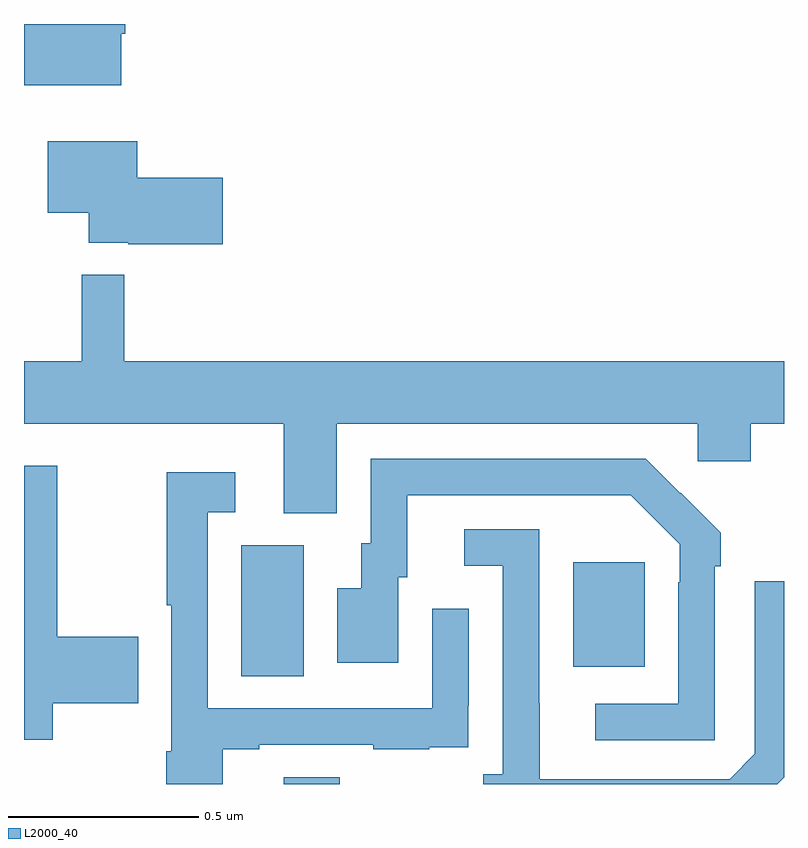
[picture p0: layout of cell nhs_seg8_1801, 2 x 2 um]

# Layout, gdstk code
import gdstk
lib = gdstk.Library(unit=1e-6, precision=1e-09)
def R(c, l, rs):  # rectangles x0, y0, x1, y1
    for r in rs: c.add(gdstk.rectangle(r[:2], r[2:], *l))
def P(c, l, *ps):  # polygons
    for p in ps: c.add(gdstk.Polygon(p, *l))
L2000_40 = (2000, 40)

nhs_seg8_1801 = lib.new_cell('nhs_seg8_1801')
R(nhs_seg8_1801, L2000_40, [(135.683,1100.9,135.831,1100.918), (135.572,1101.184,135.736,1101.528), (136.445,1101.209,136.633,1101.484)])
P(nhs_seg8_1801, L2000_40, [(135.256,1102.875),(135.266,1102.875),(135.266,1102.9),(135,1102.9),(135,1102.739),(135.256,1102.739)],
  [(135.523,1102.496),(135.298,1102.496),(135.298,1102.591),(135.062,1102.591),(135.062,1102.403),(135.17,1102.403),(135.17,1102.325),(135.274,1102.325),(135.274,1102.32),(135.523,1102.32)],
  [(135.823,1101.848),(136.773,1101.848),(136.773,1101.75),(136.912,1101.75),(136.912,1101.848),(137,1101.848),(137,1102.012),(135.264,1102.012),(135.264,1102.24),(135.152,1102.24),(135.152,1102.012),(135,1102.012),(135,1101.848),(135.683,1101.848),(135.683,1101.613),(135.823,1101.613)],
  [(136.818,1101.473),(136.833,1101.473),(136.833,1101.561),(136.728,1101.666),(136.727,1101.665),(136.636,1101.756),(135.912,1101.756),(135.912,1101.534),(135.887,1101.534),(135.887,1101.415),(135.824,1101.415),(135.824,1101.219),(135.985,1101.219),(135.985,1101.444),(136.009,1101.444),(136.009,1101.66),(136.597,1101.66),(136.725,1101.531),(136.725,1101.431),(136.722,1101.431),(136.722,1101.111),(136.503,1101.111),(136.503,1101.015),(136.818,1101.015)],
  [(135.076,1101.112),(135.301,1101.112),(135.301,1101.287),(135.088,1101.287),(135.088,1101.738),(135,1101.738),(135,1101.017),(135.076,1101.017)],
  [(135.523,1100.991),(135.619,1100.991),(135.619,1101.003),(135.919,1101.003),(135.919,1100.991),(136.067,1100.991),(136.067,1100.997),(136.169,1100.997),(136.169,1101.106),(136.17,1101.106),(136.17,1101.361),(136.074,1101.361),(136.074,1101.099),(135.483,1101.099),(135.483,1101.615),(135.556,1101.615),(135.556,1101.721),(135.375,1101.721),(135.375,1101.37),(135.387,1101.37),(135.387,1100.986),(135.374,1100.986),(135.374,1100.9),(135.523,1100.9)],
  [(137,1100.918),(137,1101.433),(136.923,1101.433),(136.923,1100.979),(136.857,1100.913),(136.357,1100.913),(136.357,1101.113),(136.356,1101.113),(136.356,1101.57),(136.158,1101.57),(136.158,1101.474),(136.26,1101.474),(136.26,1100.926),(136.209,1100.926),(136.209,1100.9),(136.982,1100.9)])

lib.write_gds('nhs_seg8_1801.gds')
